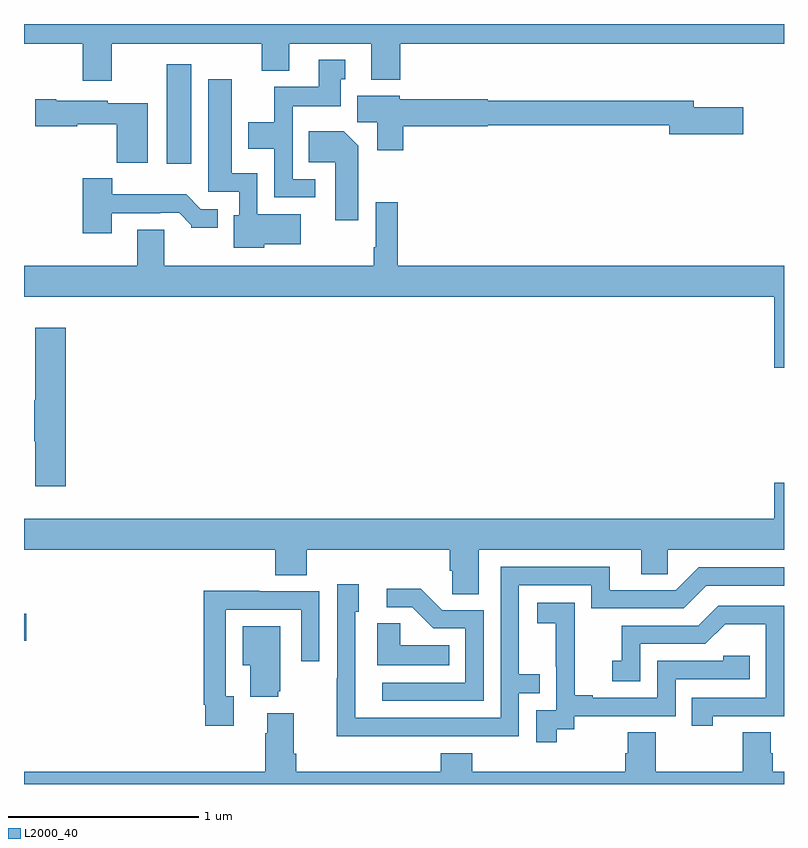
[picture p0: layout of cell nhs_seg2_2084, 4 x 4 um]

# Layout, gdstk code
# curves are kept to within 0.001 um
import gdstk
lib = gdstk.Library(unit=1e-6, precision=1e-09)
def R(c, l, rs):  # rectangles x0, y0, x1, y1
    for r in rs: c.add(gdstk.rectangle(r[:2], r[2:], *l))
def P(c, l, *ps):  # polygons
    for p in ps: c.add(gdstk.Polygon(p, *l))
L2000_40 = (2000, 40)

nhs_seg2_2084 = lib.new_cell('nhs_seg2_2084')
R(nhs_seg2_2084, L2000_40, [(221,584.555,221.011,584.697), (221.75,587.064,221.881,587.587)])
P(nhs_seg2_2084, L2000_40, [(221,587.696),(221.309,587.696),(221.309,587.502),(221.461,587.502),(221.461,587.696),(222.25,587.696),(222.25,587.555),(222.397,587.555),(222.397,587.696),(222.827,587.696),(222.827,587.507),(222.98,587.507),(222.98,587.696),(225,587.696),(225,587.8),(221,587.8)],
  [(222.532,586.983),(222.414,586.983),(222.414,587.366),(222.667,587.366),(222.667,587.508),(222.691,587.508),(222.691,587.611),(222.551,587.611),(222.551,587.47),(222.316,587.47),(222.316,587.284),(222.179,587.284),(222.179,587.144),(222.318,587.144),(222.318,586.887),(222.532,586.887)],
  [(222.264,586.64),(222.457,586.64),(222.457,586.798),(222.228,586.798),(222.228,587.014),(222.094,587.014),(222.094,587.509),(221.969,587.509),(221.969,586.917),(222.132,586.917),(222.132,586.794),(222.104,586.794),(222.104,586.622),(222.264,586.622)],
  [(222.995,587.261),(223.44,587.261),(223.44,587.266),(224.396,587.266),(224.396,587.219),(224.785,587.219),(224.785,587.361),(224.524,587.361),(224.524,587.395),(223.44,587.395),(223.44,587.403),(222.978,587.403),(222.978,587.422),(222.755,587.422),(222.755,587.284),(222.86,587.284),(222.86,587.136),(222.995,587.136)],
  [(221.65,587.383),(221.442,587.383),(221.442,587.395),(221.17,587.395),(221.17,587.403),(221.058,587.403),(221.058,587.261),(221.28,587.261),(221.28,587.273),(221.488,587.273),(221.488,587.069),(221.65,587.069)],
  [(222.76,587.158),(222.682,587.236),(222.499,587.236),(222.499,587.072),(222.638,587.072),(222.638,586.767),(222.76,586.767)],
  [(221.461,586.803),(221.717,586.803),(221.717,586.806),(221.816,586.806),(221.88,586.742),(221.88,586.727),(222.019,586.727),(222.019,586.824),(221.931,586.824),(221.853,586.903),(221.464,586.903),(221.464,586.987),(221.309,586.987),(221.309,586.698),(221.461,586.698)],
  [(225,586.528),(222.968,586.528),(222.968,586.861),(222.852,586.861),(222.852,586.624),(222.84,586.624),(222.84,586.528),(221.737,586.528),(221.737,586.718),(221.597,586.718),(221.597,586.528),(221,586.528),(221,586.364),(224.948,586.364),(224.948,585.99),(225,585.99)],
  [(221.219,586.201),(221.06,586.201),(221.06,585.821),(221.053,585.821),(221.053,585.604),(221.06,585.604),(221.06,585.366),(221.219,585.366)],
  [(223.393,585.032),(224.249,585.032),(224.249,584.905),(224.388,584.905),(224.388,585.032),(225,585.032),(225,585.385),(224.948,585.385),(224.948,585.196),(221,585.196),(221,585.032),(222.323,585.032),(222.323,584.899),(222.488,584.899),(222.488,585.032),(223.241,585.032),(223.241,584.923),(223.254,584.923),(223.254,584.8),(223.393,584.8)],
  [(223.109,584.052),(223.605,584.052),(223.605,584.277),(223.715,584.277),(223.715,584.378),(223.605,584.378),(223.605,584.847),(223.986,584.847),(223.986,584.724),(224.472,584.724),(224.592,584.844),(225,584.844),(225,584.94),(224.55,584.94),(224.43,584.82),(224.083,584.82),(224.083,584.943),(223.509,584.943),(223.509,584.148),(222.744,584.148),(222.744,584.706),(222.763,584.706),(222.763,584.851),(222.648,584.851),(222.648,584.357),(222.646,584.357),(222.646,584.051)],
  [(223.419,584.715),(223.2,584.715),(223.087,584.828),(222.909,584.828),(222.909,584.73),(223.043,584.73),(223.154,584.619),(223.323,584.619),(223.323,584.334),(222.885,584.334),(222.885,584.238),(223.419,584.238)],
  [(222.103,584.262),(222.063,584.262),(222.063,584.718),(222.459,584.718),(222.459,584.445),(222.555,584.445),(222.555,584.814),(222.239,584.814),(222.239,584.816),(221.947,584.816),(221.947,584.218),(221.955,584.218),(221.955,584.106),(222.103,584.106)],
  [(223.804,584.089),(223.896,584.089),(223.896,584.157),(224.43,584.157),(224.43,584.352),(224.819,584.352),(224.819,584.475),(224.679,584.475),(224.679,584.448),(224.334,584.448),(224.334,584.253),(223.993,584.253),(223.993,584.266),(223.898,584.266),(223.898,584.549),(223.899,584.549),(223.899,584.755),(223.701,584.755),(223.701,584.645),(223.799,584.645),(223.799,584.417),(223.8,584.417),(223.8,584.187),(223.695,584.187),(223.695,584.019),(223.804,584.019)],
  [(224.626,584.157),(225,584.157),(225,584.739),(224.654,584.739),(224.549,584.634),(224.146,584.634),(224.146,584.449),(224.097,584.449),(224.097,584.34),(224.244,584.34),(224.244,584.538),(224.586,584.538),(224.69,584.642),(224.904,584.642),(224.904,584.253),(224.515,584.253),(224.515,584.106),(224.626,584.106)],
  [(223.238,584.53),(222.981,584.53),(222.981,584.645),(222.86,584.645),(222.86,584.426),(223.238,584.426)],
  [(222.338,584.289),(222.349,584.289),(222.349,584.629),(222.152,584.629),(222.152,584.426),(222.191,584.426),(222.191,584.258),(222.338,584.258)],
  [(225,583.864),(224.942,583.864),(224.942,583.962),(224.929,583.962),(224.929,584.072),(224.782,584.072),(224.782,583.864),(224.325,583.864),(224.325,584.072),(224.177,584.072),(224.177,583.962),(224.165,583.962),(224.165,583.864),(223.358,583.864),(223.358,583.963),(223.193,583.963),(223.193,583.864),(222.434,583.864),(222.434,583.96),(222.421,583.96),(222.421,584.173),(222.281,584.173),(222.281,584.066),(222.269,584.066),(222.269,583.864),(221,583.864),(221,583.8),(225,583.8)])

lib.write_gds('nhs_seg2_2084.gds')
